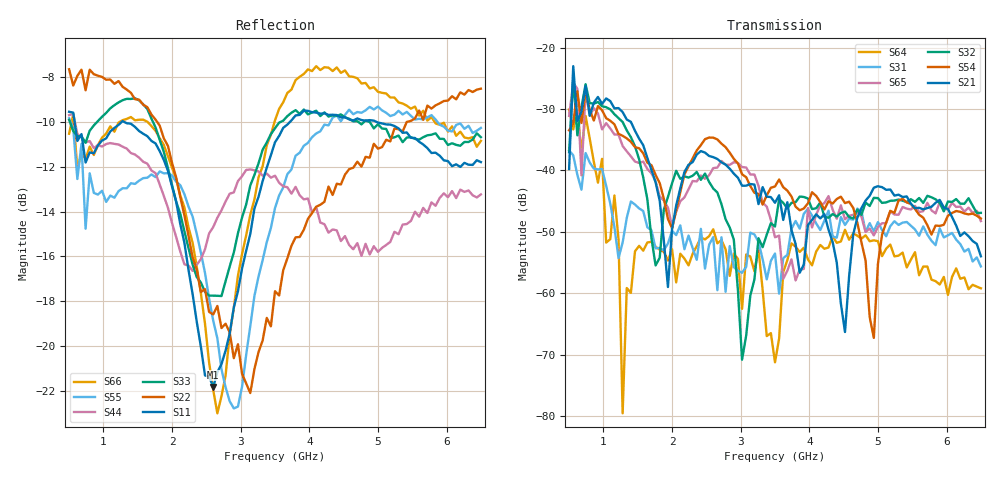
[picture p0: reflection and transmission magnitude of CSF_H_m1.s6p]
!Keysight Technologies,M9804A,MY58100912,A.14.10.03
!Date: Thursday, April 27, 2023 10:28:33
!Correction: S11(C  6-Port  )
!S12(C  6-Port  )
!S13(C  6-Port  )
!S14(C  6-Port  )
!S15(C  6-Port  )
!S16(C  6-Port  )
!S21(C  6-Port  )
!S22(C  6-Port  )
!S23(C  6-Port  )
!S24(C  6-Port  )
!S25(C  6-Port  )
!S26(C  6-Port  )
!S31(C  6-Port  )
!S32(C  6-Port  )
!S33(C  6-Port  )
!S34(C  6-Port  )
!S35(C  6-Port  )
!S36(C  6-Port  )
!S41(C  6-Port  )
!S42(C  6-Port  )
!S43(C  6-Port  )
!S44(C  6-Port  )
!S45(C  6-Port  )
!S46(C  6-Port  )
!S51(C  6-Port  )
!S52(C  6-Port  )
!S53(C  6-Port  )
!S54(C  6-Port  )
!S55(C  6-Port  )
!S56(C  6-Port  )
!S61(C  6-Port  )
!S62(C  6-Port  )
!S63(C  6-Port  )
!S64(C  6-Port  )
!S65(C  6-Port  )
!S66(C  6-Port  )
!S6P File: Measurement: :
# Hz S  RI  R 50
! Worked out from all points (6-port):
!   101 points, 500 MHz to 6.5 GHz, reference 50 ohm
!   strongest paths, dB at 500 MHz, 2 GHz, 3.5 GHz, 5 GHz, 6.5 GHz:
!     S21: -39.8, -49.5, -45.3, -42.6, -54.0
!     S54: -33.5, -49.4, -42.6, -55.2, -47.8
!     S32: -37.0, -42.1, -49.1, -44.5, -46.9
!     S65: -31.1, -49.1, -50.9, -49.2, -48.2
!     S31: -36.7, -49.8, -53.5, -48.4, -55.6
!     S64: -30.1, -52.8, -71.2, -51.5, -59.2
!   lowest |S11| = -21.8 dB at 2.6 GHz (marker M1), VSWR 1.18, Z = 42.7 + j1.93 ohm
!   |S11| at or under -10 dB: 579.7 MHz to 1.267 GHz (687 MHz wide, 74.4 % of centre); 1.303 GHz to 3.718 GHz (2.414 GHz wide, 96.2 % of centre); 4.981 GHz to end of sweep
